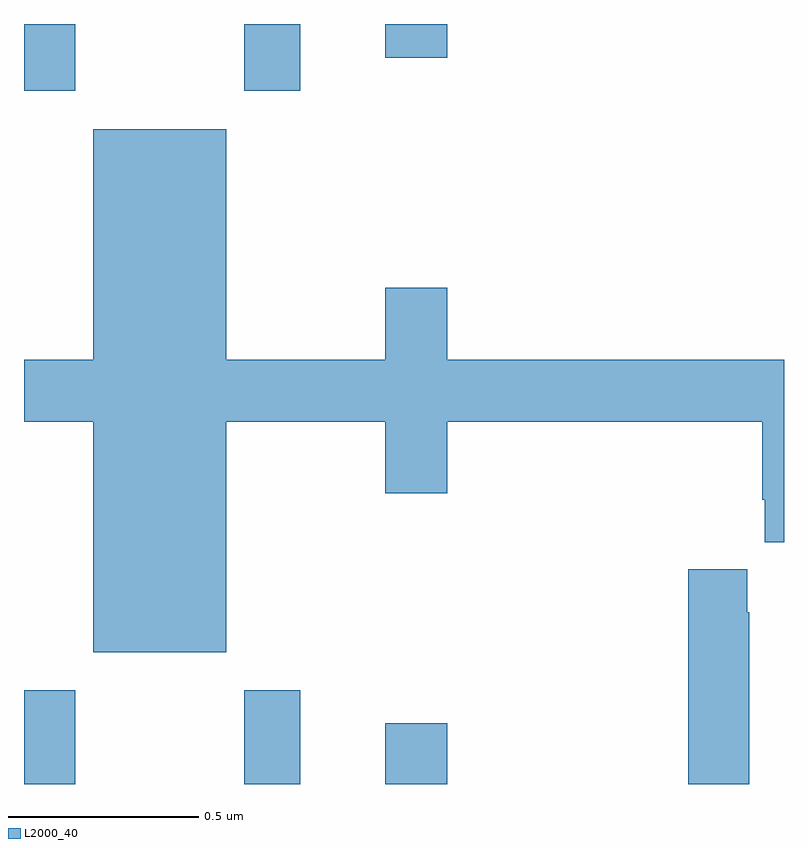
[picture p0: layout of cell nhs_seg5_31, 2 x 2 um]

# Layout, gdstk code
import gdstk
lib = gdstk.Library(unit=1e-6, precision=1e-09)
def R(c, l, rs):  # rectangles x0, y0, x1, y1
    for r in rs: c.add(gdstk.rectangle(r[:2], r[2:], *l))
def P(c, l, *ps):  # polygons
    for p in ps: c.add(gdstk.Polygon(p, *l))
L2000_40 = (2000, 40)

nhs_seg5_31 = lib.new_cell('nhs_seg5_31')
R(nhs_seg5_31, L2000_40, [(111,863.799,111.135,864.046), (111.58,863.799,111.727,864.046), (111.95,863.799,112.114,863.959), (111,865.623,111.135,865.799), (111.58,865.623,111.727,865.799), (111.95,865.71,112.114,865.799)])
P(nhs_seg5_31, L2000_40, [(111.532,864.752),(111.95,864.752),(111.95,864.564),(112.114,864.564),(112.114,864.752),(112.943,864.752),(112.943,864.547),(112.949,864.547),(112.949,864.435),(113,864.435),(113,864.916),(112.114,864.916),(112.114,865.105),(111.95,865.105),(111.95,864.916),(111.532,864.916),(111.532,865.522),(111.182,865.522),(111.182,864.916),(111,864.916),(111,864.752),(111.182,864.752),(111.182,864.146),(111.532,864.146)],
  [(112.908,864.251),(112.903,864.251),(112.903,864.364),(112.748,864.364),(112.748,863.799),(112.908,863.799)])

lib.write_gds('nhs_seg5_31.gds')
